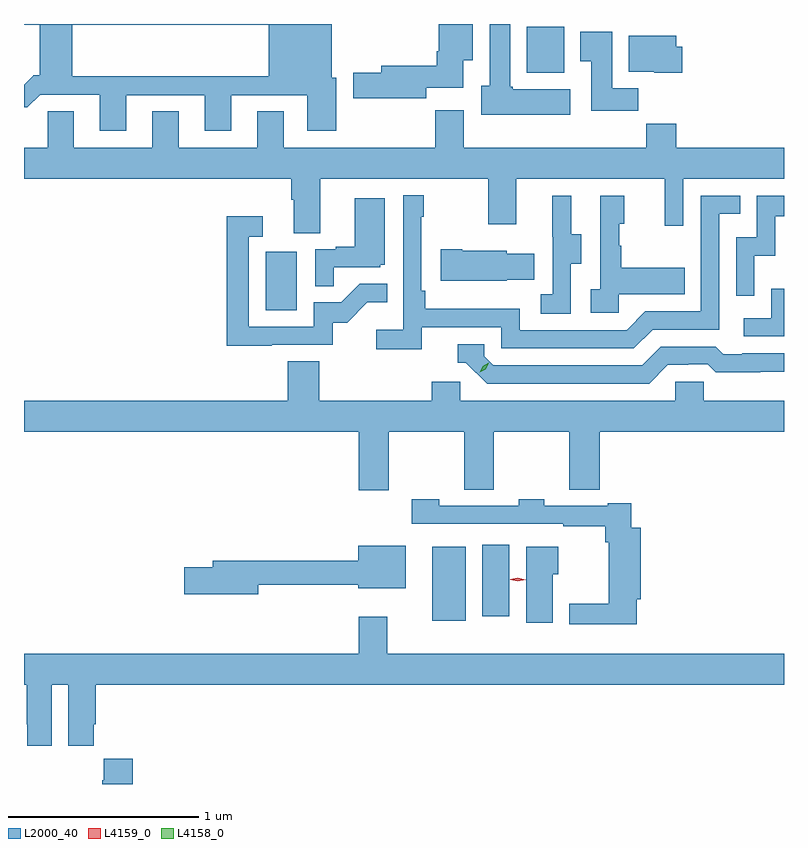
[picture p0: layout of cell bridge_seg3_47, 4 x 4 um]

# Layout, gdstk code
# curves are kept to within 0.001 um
import gdstk
lib = gdstk.Library(unit=1e-6, precision=1e-09)
def R(c, l, rs):  # rectangles x0, y0, x1, y1
    for r in rs: c.add(gdstk.rectangle(r[:2], r[2:], *l))
def P(c, l, *ps):  # polygons
    for p in ps: c.add(gdstk.Polygon(p, *l))
L2000_40 = (2000, 40)
L4158_0 = (4158, 0)
L4159_0 = (4159, 0)

bridge_seg3_47 = lib.new_cell('bridge_seg3_47')
R(bridge_seg3_47, L2000_40, [(1132.562,702.584,1132.738,702.976), (1132.826,702.609,1132.969,702.985), (1131.686,704.22,1131.85,704.527), (1133.06,705.47,1133.257,705.712)])
P(bridge_seg3_47, L2000_40, [(1130.414,705.287),(1130.432,705.287),(1130.499,705.354),(1130.813,705.354),(1130.813,705.165),(1130.953,705.165),(1130.953,705.351),(1131.365,705.351),(1131.365,705.165),(1131.505,705.165),(1131.505,705.351),(1131.905,705.351),(1131.905,705.165),(1132.057,705.165),(1132.057,705.444),(1132.033,705.444),(1132.033,705.726),(1130.414,705.726),(1130.414,705.722),(1130.498,705.722),(1130.498,705.455),(1130.462,705.455),(1130.459,705.452),(1130.669,705.452),(1130.669,705.722),(1131.701,705.722),(1131.701,705.452),(1130.459,705.452),(1130.414,705.407)],
  [(1132.43,705.336),(1132.532,705.336),(1132.532,705.39),(1132.726,705.39),(1132.726,705.536),(1132.777,705.536),(1132.777,705.726),(1132.598,705.726),(1132.598,705.583),(1132.586,705.583),(1132.586,705.506),(1132.295,705.506),(1132.295,705.47),(1132.146,705.47),(1132.146,705.335),(1132.43,705.335)],
  [(1133.29,705.382),(1132.986,705.382),(1132.986,705.396),(1132.972,705.396),(1132.972,705.726),(1132.865,705.726),(1132.865,705.402),(1132.82,705.402),(1132.82,705.248),(1133.29,705.248)],
  [(1133.648,705.388),(1133.509,705.388),(1133.509,705.685),(1133.342,705.685),(1133.342,705.529),(1133.399,705.529),(1133.399,705.27),(1133.648,705.27)],
  [(1133.879,705.606),(1133.848,705.606),(1133.848,705.664),(1133.597,705.664),(1133.597,705.476),(1133.73,705.476),(1133.73,705.47),(1133.879,705.47)],
  [(1131.973,704.912),(1132.858,704.912),(1132.858,704.673),(1133.005,704.673),(1133.005,704.912),(1133.786,704.912),(1133.786,704.664),(1133.883,704.664),(1133.883,704.912),(1134.414,704.912),(1134.414,705.076),(1133.846,705.076),(1133.846,705.2),(1133.689,705.2),(1133.689,705.076),(1132.729,705.076),(1132.729,705.271),(1132.579,705.271),(1132.579,705.076),(1131.781,705.076),(1131.781,705.266),(1131.641,705.266),(1131.641,705.076),(1131.229,705.076),(1131.229,705.266),(1131.089,705.266),(1131.089,705.076),(1130.677,705.076),(1130.677,705.266),(1130.538,705.266),(1130.538,705.076),(1130.414,705.076),(1130.414,704.912),(1131.821,704.912),(1131.821,704.8),(1131.833,704.8),(1131.833,704.626),(1131.973,704.626)],
  [(1132.508,704.13),(1132.926,704.13),(1132.926,704.019),(1133.623,704.019),(1133.722,704.118),(1134.072,704.118),(1134.072,704.727),(1134.185,704.727),(1134.185,704.823),(1133.976,704.823),(1133.976,704.214),(1133.685,704.214),(1133.586,704.115),(1133.022,704.115),(1133.022,704.227),(1132.526,704.227),(1132.526,704.323),(1132.506,704.323),(1132.506,704.711),(1132.519,704.711),(1132.519,704.824),(1132.41,704.824),(1132.41,704.116),(1132.269,704.116),(1132.269,704.014),(1132.508,704.014)],
  [(1134.258,704.507),(1134.368,704.507),(1134.368,704.715),(1134.414,704.715),(1134.414,704.823),(1134.27,704.823),(1134.27,704.604),(1134.162,704.604),(1134.162,704.295),(1134.258,704.295)],
  [(1133.544,704.303),(1133.891,704.303),(1133.891,704.443),(1133.557,704.443),(1133.557,704.558),(1133.547,704.558),(1133.547,704.676),(1133.572,704.676),(1133.572,704.821),(1133.448,704.821),(1133.448,704.33),(1133.397,704.33),(1133.397,704.205),(1133.544,704.205)],
  [(1133.292,704.464),(1133.347,704.464),(1133.347,704.619),(1133.293,704.619),(1133.293,704.821),(1133.195,704.821),(1133.195,704.607),(1133.196,704.607),(1133.196,704.303),(1133.133,704.303),(1133.133,704.2),(1133.292,704.2)],
  [(1132.043,704.445),(1132.29,704.445),(1132.29,704.46),(1132.312,704.46),(1132.312,704.809),(1132.154,704.809),(1132.154,704.554),(1132.055,704.554),(1132.055,704.541),(1131.948,704.541),(1131.948,704.347),(1132.043,704.347)],
  [(1131.719,704.037),(1132.038,704.037),(1132.038,704.154),(1132.114,704.154),(1132.221,704.261),(1132.325,704.261),(1132.325,704.36),(1132.181,704.36),(1132.083,704.262),(1131.939,704.262),(1131.939,704.133),(1131.597,704.133),(1131.597,704.607),(1131.67,704.607),(1131.67,704.713),(1131.481,704.713),(1131.481,704.032),(1131.719,704.032)],
  [(1132.956,704.381),(1133.099,704.381),(1133.099,704.518),(1132.956,704.518),(1132.956,704.533),(1132.72,704.533),(1132.72,704.541),(1132.608,704.541),(1132.608,704.375),(1132.956,704.375)],
  [(1134.414,704.332),(1134.348,704.332),(1134.348,704.178),(1134.201,704.178),(1134.201,704.082),(1134.414,704.082)],
  [(1133.803,703.932),(1133.91,703.932),(1133.91,703.935),(1134.013,703.935),(1134.055,703.893),(1134.288,703.893),(1134.288,703.895),(1134.414,703.895),(1134.414,703.992),(1134.193,703.992),(1134.193,703.989),(1134.094,703.989),(1134.055,704.028),(1133.766,704.028),(1133.667,703.929),(1132.884,703.929),(1132.836,703.977),(1132.836,704.04),(1132.697,704.04),(1132.697,703.944),(1132.74,703.944),(1132.851,703.833),(1133.704,703.833)],
  [(1132.335,703.58),(1132.732,703.58),(1132.732,703.276),(1132.886,703.276),(1132.886,703.58),(1133.284,703.58),(1133.284,703.276),(1133.444,703.276),(1133.444,703.58),(1134.414,703.58),(1134.414,703.744),(1133.991,703.744),(1133.991,703.842),(1133.841,703.842),(1133.841,703.744),(1132.71,703.744),(1132.71,703.842),(1132.559,703.842),(1132.559,703.744),(1131.968,703.744),(1131.968,703.952),(1131.803,703.952),(1131.803,703.744),(1130.414,703.744),(1130.414,703.58),(1132.175,703.58),(1132.175,703.272),(1132.335,703.272)],
  [(1133.639,702.699),(1133.66,702.699),(1133.66,703.075),(1133.609,703.075),(1133.609,703.204),(1133.486,703.204),(1133.486,703.191),(1133.151,703.191),(1133.151,703.224),(1133.019,703.224),(1133.019,703.191),(1132.599,703.191),(1132.599,703.224),(1132.455,703.224),(1132.455,703.095),(1133.251,703.095),(1133.251,703.083),(1133.473,703.083),(1133.473,702.998),(1133.492,702.998),(1133.492,702.676),(1133.283,702.676),(1133.283,702.566),(1133.639,702.566)],
  [(1131.646,702.774),(1132.172,702.774),(1132.172,702.755),(1132.423,702.755),(1132.423,702.979),(1132.172,702.979),(1132.172,702.902),(1131.407,702.902),(1131.407,702.866),(1131.258,702.866),(1131.258,702.724),(1131.646,702.724)],
  [(1133.197,702.829),(1133.227,702.829),(1133.227,702.976),(1133.057,702.976),(1133.057,702.576),(1133.197,702.576)],
  [(1130.56,702.248),(1130.648,702.248),(1130.648,701.928),(1130.782,701.928),(1130.782,702.04),(1130.792,702.04),(1130.792,702.248),(1134.414,702.248),(1134.414,702.412),(1132.327,702.412),(1132.327,702.607),(1132.175,702.607),(1132.175,702.412),(1130.414,702.412),(1130.414,702.248),(1130.429,702.248),(1130.429,702.04),(1130.43,702.04),(1130.43,701.928),(1130.56,701.928)],
  [(1130.987,701.86),(1130.833,701.86),(1130.833,701.747),(1130.827,701.747),(1130.827,701.726),(1130.987,701.726)])
P(bridge_seg3_47, L4158_0, [(1132.812,703.892),(1132.812,703.892),(1132.828,703.924),(1132.859,703.943),(1132.86,703.943),(1132.86,703.943),(1132.843,703.91),(1132.812,703.892)])
P(bridge_seg3_47, L4159_0, [(1133.013,702.792),(1132.972,702.802),(1132.972,702.803),(1132.972,702.803),(1133.013,702.812),(1133.054,702.802),(1133.054,702.802),(1133.054,702.802)])

lib.write_gds('bridge_seg3_47.gds')
